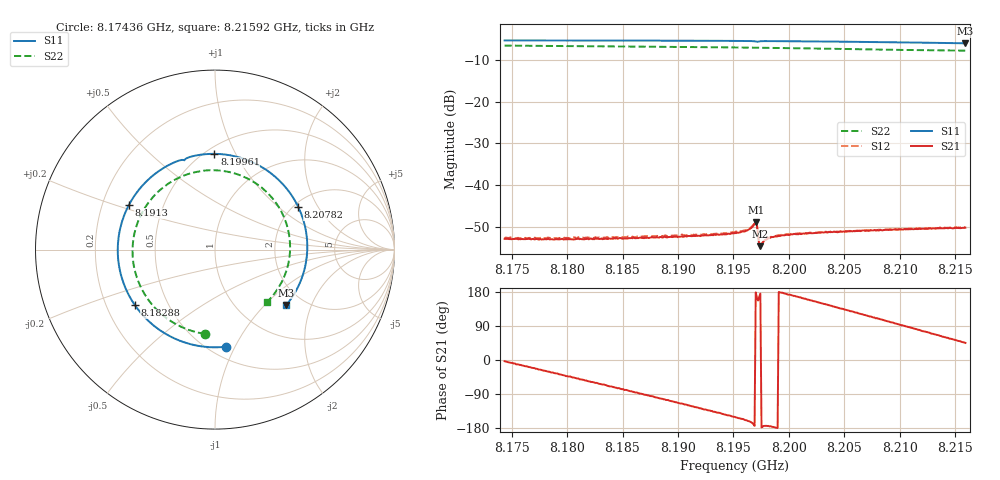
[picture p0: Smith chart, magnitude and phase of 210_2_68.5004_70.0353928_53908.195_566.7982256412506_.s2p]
#  HZ  S  RI  R  50.00
! Rohde & Schwarz Vector Network Analyzer
! Rohde-Schwarz,ZNB20-2Port,1311601062101988,3.16
! Created: UTC 3/20/2024, 4:57:59 PM
! freq[Hz]  re:S11  im:S11  re:S21  im:S21  re:S12  im:S12  re:S22  im:S22
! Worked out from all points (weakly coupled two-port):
!   401 points, 8.17436 GHz to 8.21592 GHz, reference 50 ohm
!   highest |S21| = -48.96 dB at 8.19701 GHz (marker M1); lowest = -54.6 dB at 8.19743 GHz (marker M2)
!   lowest |S11| = -6.0 dB at 8.21592 GHz (marker M3), VSWR 3.03, Z = 81.7 - j67.4 ohm
!   |S11| at or under -10 dB: nowhere
!   |S22| runs from -7.7 to -6.5 dB; largest |S21 - S12| = 0.00018
!   S11 on the Smith chart (normalised r, x): 8.17436 GHz: 0.60, -0.92; 8.18288 GHz: 0.32, -0.28; 8.1913 GHz: 0.31, +0.22; 8.19961 GHz: 0.55, +0.83; 8.20782 GHz: 2.11, +1.38; 8.21592 GHz: 1.63, -1.35
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8.174363e9  0.0626 -0.541  0.00226 -0.000125  0.00231 -0.000117  -0.0558 -0.4696
8.177791e9  -0.1696 -0.5171  0.00199 -0.00103  0.00204 -0.00108  -0.2373 -0.404
8.181323e9  -0.3767 -0.392  0.00139 -0.00176  0.00141 -0.00184  -0.3796 -0.268
8.182882e9  -0.4464 -0.3095  0.00103 -0.00201  0.00109 -0.00209  -0.4216 -0.1919
8.185687e9  -0.5261 -0.1325  0.000309 -0.00229  0.000282 -0.00237  -0.4584 -0.0413
8.188284e9  -0.5396 0.0476  -0.000438 -0.0023  -0.000494 -0.0024  -0.4462 0.1019
8.191297e9  -0.4797 0.2485  -0.00131 -0.00206  -0.0014 -0.00206  -0.3769 0.2533
8.195141e9  -0.2995 0.4467  -0.00231 -0.00132  -0.00243 -0.00124  -0.2171 0.3929
8.196179e9  -0.2349 0.4825  -0.00266 -0.00102  -0.00276 -0.00094  -0.1636 0.4163
8.196907e9  -0.1837 0.4998  -0.00342 -0.000363  -0.0035 -0.000231  -0.1246 0.4283
8.197011e9  -0.1758 0.4994  -0.00356 0.000108  -0.0036 0.000271  -0.1187 0.4296
8.197426e9  -0.1586 0.5088  -0.00185 0.000144  -0.00189 0.000216  -0.0961 0.4346
8.19753e9  -0.1512 0.5121  -0.00189 -6.26e-05  -0.00198 1.06e-05  -0.0903 0.4357
8.197946e9  -0.1215 0.5211  -0.0022 -0.000246  -0.00225 -0.000179  -0.0672 0.4391
8.198361e9  -0.092 0.5268  -0.00235 -0.000217  -0.00239 -0.000116  -0.0438 0.4414
8.199608e9  -0.00356 0.5336  -0.00249 0.000201  -0.00253 0.000287  0.027 0.4404
8.202101e9  0.1692 0.5029  -0.00243 0.00104  -0.00243 0.00121  0.1639 0.4045
8.204802e9  0.3337 0.4072  -0.00195 0.00194  -0.00193 0.00206  0.2922 0.3166
8.207815e9  0.4633 0.2386  -0.000981 0.0027  -0.000948 0.00269  0.3889 0.1693
8.209062e9  0.495 0.1556  -0.000568 0.00287  -0.000484 0.0029  0.41 0.0979
8.212386e9  0.5052 -0.0802  0.000812 0.00289  0.000908 0.00291  0.4024 -0.1024
8.215918e9  0.3982 -0.3079  0.00218 0.00219  0.00228 0.00217  0.2905 -0.2909
